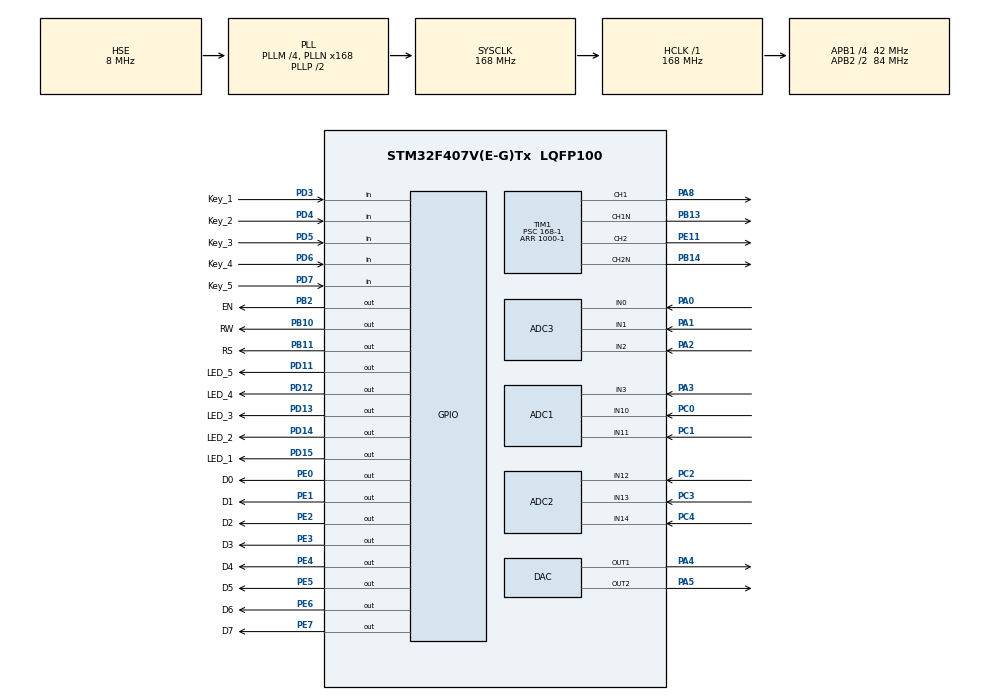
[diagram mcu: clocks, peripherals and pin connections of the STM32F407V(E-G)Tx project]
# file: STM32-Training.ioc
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ADC1.Channel-3\#ChannelRegularConversion=ADC_CHANNEL_3
ADC1.Channel-4\#ChannelRegularConversion=ADC_CHANNEL_10
ADC1.Channel-5\#ChannelRegularConversion=ADC_CHANNEL_11
ADC1.ClockPrescaler=ADC_CLOCK_SYNC_PCLK_DIV8
ADC1.ContinuousConvMode=ENABLE
ADC1.DMAContinuousRequests=ENABLE
ADC1.NbrOfConversion=3
ADC1.NbrOfConversionFlag=1
ADC1.Rank-3\#ChannelRegularConversion=1
ADC1.Rank-4\#ChannelRegularConversion=2
ADC1.Rank-5\#ChannelRegularConversion=3
ADC1.SamplingTime-3\#ChannelRegularConversion=ADC_SAMPLETIME_28CYCLES
ADC1.SamplingTime-4\#ChannelRegularConversion=ADC_SAMPLETIME_28CYCLES
ADC1.SamplingTime-5\#ChannelRegularConversion=ADC_SAMPLETIME_28CYCLES
ADC1.ScanConvMode=ENABLE
ADC1.master=1
ADC2.Channel-0\#ChannelRegularConversion=ADC_CHANNEL_12
ADC2.Channel-1\#ChannelRegularConversion=ADC_CHANNEL_13
ADC2.Channel-2\#ChannelRegularConversion=ADC_CHANNEL_14
ADC2.ClockPrescaler=ADC_CLOCK_SYNC_PCLK_DIV8
ADC2.ContinuousConvMode=ENABLE
ADC2.DMAContinuousRequests=ENABLE
ADC2.NbrOfConversion=3
ADC2.NbrOfConversionFlag=1
ADC2.Rank-0\#ChannelRegularConversion=1
ADC2.Rank-1\#ChannelRegularConversion=2
ADC2.Rank-2\#ChannelRegularConversion=3
ADC2.SamplingTime-0\#ChannelRegularConversion=ADC_SAMPLETIME_56CYCLES
ADC2.SamplingTime-1\#ChannelRegularConversion=ADC_SAMPLETIME_56CYCLES
ADC2.SamplingTime-2\#ChannelRegularConversion=ADC_SAMPLETIME_56CYCLES
ADC2.ScanConvMode=ENABLE
ADC3.Channel-0\#ChannelRegularConversion=ADC_CHANNEL_0
ADC3.Channel-1\#ChannelRegularConversion=ADC_CHANNEL_1
ADC3.Channel-2\#ChannelRegularConversion=ADC_CHANNEL_2
ADC3.ClockPrescaler=ADC_CLOCK_SYNC_PCLK_DIV8
ADC3.ContinuousConvMode=ENABLE
ADC3.DMAContinuousRequests=ENABLE
ADC3.NbrOfConversion=3
ADC3.NbrOfConversionFlag=1
ADC3.Rank-0\#ChannelRegularConversion=1
ADC3.Rank-1\#ChannelRegularConversion=2
ADC3.Rank-2\#ChannelRegularConversion=3
ADC3.SamplingTime-0\#ChannelRegularConversion=ADC_SAMPLETIME_56CYCLES
ADC3.SamplingTime-1\#ChannelRegularConversion=ADC_SAMPLETIME_56CYCLES
ADC3.SamplingTime-2\#ChannelRegularConversion=ADC_SAMPLETIME_56CYCLES
ADC3.ScanConvMode=ENABLE
Dma.ADC1.0.Direction=DMA_PERIPH_TO_MEMORY
Dma.ADC1.0.FIFOMode=DMA_FIFOMODE_DISABLE
Dma.ADC1.0.Instance=DMA2_Stream0
Dma.ADC1.0.MemDataAlignment=DMA_MDATAALIGN_WORD
Dma.ADC1.0.MemInc=DMA_MINC_ENABLE
Dma.ADC1.0.Mode=DMA_CIRCULAR
Dma.ADC1.0.PeriphDataAlignment=DMA_PDATAALIGN_WORD
Dma.ADC1.0.PeriphInc=DMA_PINC_DISABLE
Dma.ADC1.0.Priority=DMA_PRIORITY_LOW
Dma.ADC2.1.Direction=DMA_PERIPH_TO_MEMORY
Dma.ADC2.1.FIFOMode=DMA_FIFOMODE_DISABLE
Dma.ADC2.1.Instance=DMA2_Stream2
Dma.ADC2.1.MemDataAlignment=DMA_MDATAALIGN_WORD
Dma.ADC2.1.MemInc=DMA_MINC_ENABLE
Dma.ADC2.1.Mode=DMA_CIRCULAR
Dma.ADC2.1.PeriphDataAlignment=DMA_PDATAALIGN_WORD
Dma.ADC2.1.PeriphInc=DMA_PINC_DISABLE
Dma.ADC2.1.Priority=DMA_PRIORITY_LOW
Dma.ADC3.2.Direction=DMA_PERIPH_TO_MEMORY
Dma.ADC3.2.FIFOMode=DMA_FIFOMODE_DISABLE
Dma.ADC3.2.Instance=DMA2_Stream1
Dma.ADC3.2.MemDataAlignment=DMA_MDATAALIGN_WORD
Dma.ADC3.2.MemInc=DMA_MINC_ENABLE
Dma.ADC3.2.Mode=DMA_CIRCULAR
Dma.ADC3.2.PeriphDataAlignment=DMA_PDATAALIGN_WORD
Dma.ADC3.2.PeriphInc=DMA_PINC_DISABLE
Dma.ADC3.2.Priority=DMA_PRIORITY_LOW
Dma.Request0=ADC1
Dma.Request1=ADC2
Dma.Request2=ADC3
Mcu.Family=STM32F4
Mcu.Name=STM32F407V(E-G)Tx
Mcu.Package=LQFP100
NVIC.DMA2_Stream0_IRQn=true\:0\:0\:false\:false\:true\:false\:true
NVIC.DMA2_Stream1_IRQn=true\:0\:0\:false\:false\:true\:false\:true
NVIC.DMA2_Stream2_IRQn=true\:0\:0\:false\:false\:true\:false\:true
NVIC.PriorityGroup=NVIC_PRIORITYGROUP_4
NVIC.TIM1_UP_TIM10_IRQn=true\:0\:0\:false\:false\:true\:true\:true
NVIC.TIM2_IRQn=true\:0\:0\:false\:false\:true\:true\:true
NVIC.TIM6_DAC_IRQn=true\:0\:0\:false\:false\:true\:true\:true
PA0-WKUP.Signal=ADCx_IN0
PA1.Signal=ADCx_IN1
PA2.Signal=ADCx_IN2
PA3.Signal=ADCx_IN3
PA4.Signal=COMP_DAC1_group
PA5.Signal=COMP_DAC2_group
PA8.Signal=S_TIM1_CH1
PB10.GPIO_Label=RW
PB10.Signal=GPIO_Output
PB11.GPIO_Label=RS
PB11.Signal=GPIO_Output
PB13.Mode=Output Compare1 CH1 CH1N
PB13.Signal=TIM1_CH1N
PB14.Mode=Output Compare2 CH2 CH2N
PB14.Signal=TIM1_CH2N
PB2.GPIO_Label=EN
PB2.Signal=GPIO_Output
PC0.Signal=ADCx_IN10
PC1.Signal=ADCx_IN11
PC2.Signal=ADCx_IN12
PC3.Signal=ADCx_IN13
PC4.Signal=ADCx_IN14
PD11.GPIO_Label=LED_5
PD11.Signal=GPIO_Output
PD12.GPIO_Label=LED_4
PD12.Signal=GPIO_Output
PD13.GPIO_Label=LED_3
PD13.Signal=GPIO_Output
PD14.GPIO_Label=LED_2
PD14.Signal=GPIO_Output
PD15.GPIO_Label=LED_1
PD15.Signal=GPIO_Output
PD3.GPIO_Label=Key_1
PD3.Signal=GPIO_Input
PD4.GPIO_Label=Key_2
PD4.Signal=GPIO_Input
PD5.GPIO_Label=Key_3
PD5.Signal=GPIO_Input
PD6.GPIO_Label=Key_4
PD6.Signal=GPIO_Input
PD7.GPIO_Label=Key_5
PD7.Signal=GPIO_Input
PE0.GPIO_Label=D0
PE0.Signal=GPIO_Output
PE1.GPIO_Label=D1
PE1.Signal=GPIO_Output
PE11.Signal=S_TIM1_CH2
PE2.GPIO_Label=D2
PE2.Signal=GPIO_Output
PE3.GPIO_Label=D3
PE3.Signal=GPIO_Output
PE4.GPIO_Label=D4
PE4.Signal=GPIO_Output
PE5.GPIO_Label=D5
PE5.Signal=GPIO_Output
PE6.GPIO_Label=D6
PE6.Signal=GPIO_Output
PE7.GPIO_Label=D7
PE7.Signal=GPIO_Output
PH0-OSC_IN.Mode=HSE-External-Oscillator
PH0-OSC_IN.Signal=RCC_OSC_IN
PH1-OSC_OUT.Mode=HSE-External-Oscillator
PH1-OSC_OUT.Signal=RCC_OSC_OUT
ProjectManager.HeapSize=0x200
ProjectManager.StackSize=0x400
ProjectManager.TargetToolchain=MDK-ARM V5.27
RCC.48MHZClocksFreq_Value=84000000
RCC.AHBFreq_Value=168000000
RCC.APB1CLKDivider=RCC_HCLK_DIV4
RCC.APB1Freq_Value=42000000
RCC.APB1TimFreq_Value=84000000
RCC.APB2CLKDivider=RCC_HCLK_DIV2
RCC.APB2Freq_Value=84000000
RCC.APB2TimFreq_Value=168000000
RCC.CortexFreq_Value=168000000
RCC.HCLKFreq_Value=168000000
RCC.HSE_VALUE=8000000
RCC.HSI_VALUE=16000000
RCC.LSE_VALUE=32768
RCC.PLLM=4
RCC.PLLN=168
RCC.PLLSourceVirtual=RCC_PLLSOURCE_HSE
RCC.SYSCLKFreq_VALUE=168000000
RCC.SYSCLKSource=RCC_SYSCLKSOURCE_PLLCLK
RCC.VCOOutputFreq_Value=336000000
SH.ADCx_IN0.0=ADC3_IN0,IN0
SH.ADCx_IN1.0=ADC3_IN1,IN1
SH.ADCx_IN10.0=ADC1_IN10,IN10
SH.ADCx_IN11.0=ADC1_IN11,IN11
SH.ADCx_IN12.0=ADC2_IN12,IN12
SH.ADCx_IN13.0=ADC2_IN13,IN13
SH.ADCx_IN14.0=ADC2_IN14,IN14
SH.ADCx_IN2.0=ADC3_IN2,IN2
SH.ADCx_IN3.0=ADC1_IN3,IN3
SH.COMP_DAC1_group.0=DAC_OUT1,DAC_OUT1
SH.COMP_DAC2_group.0=DAC_OUT2,DAC_OUT2
SH.S_TIM1_CH1.0=TIM1_CH1,Output Compare1 CH1 CH1N
SH.S_TIM1_CH2.0=TIM1_CH2,Output Compare2 CH2 CH2N
TIM1.AutoReloadPreload=TIM_AUTORELOAD_PRELOAD_ENABLE
TIM1.Channel-Output\ Compare1\ CH1\ CH1N=TIM_CHANNEL_1
TIM1.Channel-Output\ Compare2\ CH2\ CH2N=TIM_CHANNEL_2
TIM1.DeadTime=120
TIM1.OCMode_1=TIM_OCMODE_TOGGLE
TIM1.OCMode_2=TIM_OCMODE_TOGGLE
TIM1.OCNPolarity_1=TIM_OCNPOLARITY_HIGH
TIM1.Period=1000-1
TIM1.Prescaler=168-1
TIM1.Pulse-Output\ Compare1\ CH1\ CH1N=100
TIM1.Pulse-Output\ Compare2\ CH2\ CH2N=500
TIM1.TIM_MasterOutputTrigger=TIM_TRGO_UPDATE
TIM2.AutoReloadPreload=TIM_AUTORELOAD_PRELOAD_ENABLE
TIM2.Period=1000-1
TIM2.Prescaler=84-1
TIM2.TIM_MasterOutputTrigger=TIM_TRGO_UPDATE
VP_TIM1_VS_ClockSourceINT.Mode=Internal
VP_TIM2_VS_ClockSourceINT.Mode=Internal
board=custom

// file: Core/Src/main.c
/* USER CODE BEGIN Header */
/**
  ******************************************************************************
  * @file           : main.c
  * @brief          : Main program body
  ******************************************************************************
  * @attention
  *
  * <h2><center>&copy; Copyright (c) 2020 STMicroelectronics.
  * All rights reserved.</center></h2>
  *
  * This software component is licensed by ST under BSD 3-Clause license,
  * the "License"; You may not use this file except in compliance with the
  * License. You may obtain a copy of the License at:
  *                        opensource.org/licenses/BSD-3-Clause
  *
  ******************************************************************************
  */
/* USER CODE END Header */
#include "main.h"

/* USER CODE BEGIN Includes */
#include "STM_MY_LCD16X2.h"
/* USER CODE END Includes */

ADC_HandleTypeDef hadc1;
ADC_HandleTypeDef hadc2;
ADC_HandleTypeDef hadc3;
DMA_HandleTypeDef hdma_adc1;
DMA_HandleTypeDef hdma_adc2;
DMA_HandleTypeDef hdma_adc3;

DAC_HandleTypeDef hdac;

TIM_HandleTypeDef htim1;
TIM_HandleTypeDef htim2;

/* USER CODE BEGIN PV */

//Key-interface.

uint16_t key_flag_1, key_flag_2, key_flag_3, key_flag_4, key_flag_5;
uint16_t keyscan_flag;

//16x2 LCD-interface.

uint16_t Display_flag;
char str_line1[16], str_line2[16];
float Temp_Disp_1 = 12.56;

//Timer-1
uint16_t timer_1_CCR1 = 150;

//ADC-Interface

//uint16_t ADCValue;
uint32_t ADCValue1[3], ADCValue2[3], ADCValue3[3];

/* USER CODE END PV */

void SystemClock_Config(void);
static void MX_GPIO_Init(void);
static void MX_DMA_Init(void);
static void MX_TIM2_Init(void);
static void MX_TIM1_Init(void);
static void MX_ADC1_Init(void);
static void MX_ADC2_Init(void);
static void MX_ADC3_Init(void);
static void MX_DAC_Init(void);
/* USER CODE BEGIN PFP */
void Keyscan(void);

/* USER CODE END PFP */

int main(void)
{

  /* MCU Configuration--------------------------------------------------------*/

  /* Reset of all peripherals, Initializes the Flash interface and the Systick. */
  HAL_Init();

  /* Configure the system clock */
  SystemClock_Config();

  /* Initialize all configured peripherals */
  MX_GPIO_Init();
  MX_DMA_Init();
  MX_TIM2_Init();
  MX_TIM1_Init();
  MX_ADC1_Init();
  MX_ADC2_Init();
  MX_ADC3_Init();
  MX_DAC_Init();
  /* USER CODE BEGIN 2 */
	LCD1602_Begin8BIT(GPIOB, RS_Pin, EN_Pin, GPIOE, D0_Pin, D1_Pin, D2_Pin, D3_Pin, GPIOE, D4_Pin, D5_Pin, D6_Pin, D7_Pin);
	LCD1602_1stLine();
	LCD1602_print("NITECH Training");
	LCD1602_noBlink();
	LCD1602_noCursor();

	HAL_TIM_Base_Start(&htim2);
	HAL_TIM_Base_Start_IT(&htim2);

	HAL_TIM_Base_Start(&htim1);

	HAL_TIM_OC_Start(&htim1,TIM_CHANNEL_1);
	HAL_TIMEx_OCN_Start(&htim1,TIM_CHANNEL_1);

	HAL_TIM_OC_Start(&htim1,TIM_CHANNEL_2);
	HAL_TIMEx_OCN_Start(&htim1,TIM_CHANNEL_2);

	HAL_ADC_Start(&hadc1);
	HAL_ADC_Start_DMA(&hadc1, (uint32_t *)ADCValue1, 3);

	HAL_ADC_Start(&hadc2);
	HAL_ADC_Start_DMA(&hadc2, (uint32_t *)ADCValue2, 3);

	HAL_ADC_Start(&hadc3);
	HAL_ADC_Start_DMA(&hadc3, (uint32_t *)ADCValue3, 3);

	HAL_DAC_Start(&hdac, DAC_CHANNEL_1);
	HAL_DAC_Start(&hdac, DAC_CHANNEL_2);

  /* USER CODE END 2 */

  /* Infinite loop */
  /* USER CODE BEGIN WHILE */
  while (1)
  {
		DAC->DHR12R1 = 2048;
		DAC->DHR12R2 = (TIM1->CNT)*4.0;
//		ADCValue = HAL_ADC_GetValue(&hadc1);
//		Keyscan();
//
//		if(Display_flag == 100){
//			Display_flag = 0;
//			LCD1602_clear();
//			sprintf((char *)str_line1,"[%5.0d], [%5.0d]",timer_1_CCR1,Display_flag);
//			LCD1602_1stLine();
//			LCD1602_print(str_line1);
//			sprintf((char *)str_line2,"TRAINNING");
//			LCD1602_2ndLine();
//			LCD1602_print(str_line2);
//		}
    /* USER CODE END WHILE */

  }
}

void SystemClock_Config(void)
{
  RCC_OscInitTypeDef RCC_OscInitStruct = {0};
  RCC_ClkInitTypeDef RCC_ClkInitStruct = {0};

  /** Configure the main internal regulator output voltage
  */
  __HAL_RCC_PWR_CLK_ENABLE();
  __HAL_PWR_VOLTAGESCALING_CONFIG(PWR_REGULATOR_VOLTAGE_SCALE1);
  /** Initializes the RCC Oscillators according to the specified parameters
  * in the RCC_OscInitTypeDef structure.
  */
  RCC_OscInitStruct.OscillatorType = RCC_OSCILLATORTYPE_HSE;
  RCC_OscInitStruct.HSEState = RCC_HSE_ON;
  RCC_OscInitStruct.PLL.PLLState = RCC_PLL_ON;
  RCC_OscInitStruct.PLL.PLLSource = RCC_PLLSOURCE_HSE;
  RCC_OscInitStruct.PLL.PLLM = 4;
  RCC_OscInitStruct.PLL.PLLN = 168;
  RCC_OscInitStruct.PLL.PLLP = RCC_PLLP_DIV2;
  RCC_OscInitStruct.PLL.PLLQ = 4;
  if (HAL_RCC_OscConfig(&RCC_OscInitStruct) != HAL_OK)
  {
    Error_Handler();
  }
  /** Initializes the CPU, AHB and APB buses clocks
  */
  RCC_ClkInitStruct.ClockType = RCC_CLOCKTYPE_HCLK|RCC_CLOCKTYPE_SYSCLK
                              |RCC_CLOCKTYPE_PCLK1|RCC_CLOCKTYPE_PCLK2;
  RCC_ClkInitStruct.SYSCLKSource = RCC_SYSCLKSOURCE_PLLCLK;
  RCC_ClkInitStruct.AHBCLKDivider = RCC_SYSCLK_DIV1;
  RCC_ClkInitStruct.APB1CLKDivider = RCC_HCLK_DIV4;
  RCC_ClkInitStruct.APB2CLKDivider = RCC_HCLK_DIV2;

  if (HAL_RCC_ClockConfig(&RCC_ClkInitStruct, FLASH_LATENCY_5) != HAL_OK)
  {
    Error_Handler();
  }
}

static void MX_ADC1_Init(void)
{

  ADC_ChannelConfTypeDef sConfig = {0};

  /** Configure the global features of the ADC (Clock, Resolution, Data Alignment and number of conversion)
  */
  hadc1.Instance = ADC1;
  hadc1.Init.ClockPrescaler = ADC_CLOCK_SYNC_PCLK_DIV8;
  hadc1.Init.Resolution = ADC_RESOLUTION_12B;
  hadc1.Init.ScanConvMode = ENABLE;
  hadc1.Init.ContinuousConvMode = ENABLE;
  hadc1.Init.DiscontinuousConvMode = DISABLE;
  hadc1.Init.ExternalTrigConvEdge = ADC_EXTERNALTRIGCONVEDGE_NONE;
  hadc1.Init.ExternalTrigConv = ADC_SOFTWARE_START;
  hadc1.Init.DataAlign = ADC_DATAALIGN_RIGHT;
  hadc1.Init.NbrOfConversion = 3;
  hadc1.Init.DMAContinuousRequests = ENABLE;
  hadc1.Init.EOCSelection = ADC_EOC_SINGLE_CONV;
  if (HAL_ADC_Init(&hadc1) != HAL_OK)
  {
    Error_Handler();
  }
  /** Configure for the selected ADC regular channel its corresponding rank in the sequencer and its sample time.
  */
  sConfig.Channel = ADC_CHANNEL_3;
  sConfig.Rank = 1;
  sConfig.SamplingTime = ADC_SAMPLETIME_28CYCLES;
  if (HAL_ADC_ConfigChannel(&hadc1, &sConfig) != HAL_OK)
  {
    Error_Handler();
  }
  /** Configure for the selected ADC regular channel its corresponding rank in the sequencer and its sample time.
  */
  sConfig.Channel = ADC_CHANNEL_10;
  sConfig.Rank = 2;
  if (HAL_ADC_ConfigChannel(&hadc1, &sConfig) != HAL_OK)
  {
    Error_Handler();
  }
  /** Configure for the selected ADC regular channel its corresponding rank in the sequencer and its sample time.
  */
  sConfig.Channel = ADC_CHANNEL_11;
  sConfig.Rank = 3;
  if (HAL_ADC_ConfigChannel(&hadc1, &sConfig) != HAL_OK)
  {
    Error_Handler();
  }

}

static void MX_ADC2_Init(void)
{

  ADC_ChannelConfTypeDef sConfig = {0};

  /** Configure the global features of the ADC (Clock, Resolution, Data Alignment and number of conversion)
  */
  hadc2.Instance = ADC2;
  hadc2.Init.ClockPrescaler = ADC_CLOCK_SYNC_PCLK_DIV8;
  hadc2.Init.Resolution = ADC_RESOLUTION_12B;
  hadc2.Init.ScanConvMode = ENABLE;
  hadc2.Init.ContinuousConvMode = ENABLE;
  hadc2.Init.DiscontinuousConvMode = DISABLE;
  hadc2.Init.ExternalTrigConvEdge = ADC_EXTERNALTRIGCONVEDGE_NONE;
  hadc2.Init.ExternalTrigConv = ADC_SOFTWARE_START;
  hadc2.Init.DataAlign = ADC_DATAALIGN_RIGHT;
  hadc2.Init.NbrOfConversion = 3;
  hadc2.Init.DMAContinuousRequests = ENABLE;
  hadc2.Init.EOCSelection = ADC_EOC_SINGLE_CONV;
  if (HAL_ADC_Init(&hadc2) != HAL_OK)
  {
    Error_Handler();
  }
  /** Configure for the selected ADC regular channel its corresponding rank in the sequencer and its sample time.
  */
  sConfig.Channel = ADC_CHANNEL_12;
  sConfig.Rank = 1;
  sConfig.SamplingTime = ADC_SAMPLETIME_56CYCLES;
  if (HAL_ADC_ConfigChannel(&hadc2, &sConfig) != HAL_OK)
  {
    Error_Handler();
  }
  /** Configure for the selected ADC regular channel its corresponding rank in the sequencer and its sample time.
  */
  sConfig.Channel = ADC_CHANNEL_13;
  sConfig.Rank = 2;
  if (HAL_ADC_ConfigChannel(&hadc2, &sConfig) != HAL_OK)
  {
    Error_Handler();
  }
  /** Configure for the selected ADC regular channel its corresponding rank in the sequencer and its sample time.
  */
  sConfig.Channel = ADC_CHANNEL_14;
  sConfig.Rank = 3;
  if (HAL_ADC_ConfigChannel(&hadc2, &sConfig) != HAL_OK)
  {
    Error_Handler();
  }

}

static void MX_ADC3_Init(void)
{

  ADC_ChannelConfTypeDef sConfig = {0};

  /** Configure the global features of the ADC (Clock, Resolution, Data Alignment and number of conversion)
  */
  hadc3.Instance = ADC3;
  hadc3.Init.ClockPrescaler = ADC_CLOCK_SYNC_PCLK_DIV8;
  hadc3.Init.Resolution = ADC_RESOLUTION_12B;
  hadc3.Init.ScanConvMode = ENABLE;
  hadc3.Init.ContinuousConvMode = ENABLE;
  hadc3.Init.DiscontinuousConvMode = DISABLE;
  hadc3.Init.ExternalTrigConvEdge = ADC_EXTERNALTRIGCONVEDGE_NONE;
  hadc3.Init.ExternalTrigConv = ADC_SOFTWARE_START;
  hadc3.Init.DataAlign = ADC_DATAALIGN_RIGHT;
  hadc3.Init.NbrOfConversion = 3;
  hadc3.Init.DMAContinuousRequests = ENABLE;
  hadc3.Init.EOCSelection = ADC_EOC_SINGLE_CONV;
  if (HAL_ADC_Init(&hadc3) != HAL_OK)
  {
    Error_Handler();
  }
  /** Configure for the selected ADC regular channel its corresponding rank in the sequencer and its sample time.
  */
  sConfig.Channel = ADC_CHANNEL_0;
  sConfig.Rank = 1;
  sConfig.SamplingTime = ADC_SAMPLETIME_56CYCLES;
  if (HAL_ADC_ConfigChannel(&hadc3, &sConfig) != HAL_OK)
  {
    Error_Handler();
  }
  /** Configure for the selected ADC regular channel its corresponding rank in the sequencer and its sample time.
  */
  sConfig.Channel = ADC_CHANNEL_1;
  sConfig.Rank = 2;
  if (HAL_ADC_ConfigChannel(&hadc3, &sConfig) != HAL_OK)
  {
    Error_Handler();
  }
  /** Configure for the selected ADC regular channel its corresponding rank in the sequencer and its sample time.
  */
  sConfig.Channel = ADC_CHANNEL_2;
  sConfig.Rank = 3;
  if (HAL_ADC_ConfigChannel(&hadc3, &sConfig) != HAL_OK)
  {
    Error_Handler();
  }

}

static void MX_DAC_Init(void)
{

  DAC_ChannelConfTypeDef sConfig = {0};

  /** DAC Initialization
  */
  hdac.Instance = DAC;
  if (HAL_DAC_Init(&hdac) != HAL_OK)
  {
    Error_Handler();
  }
  /** DAC channel OUT1 config
  */
  sConfig.DAC_Trigger = DAC_TRIGGER_NONE;
  sConfig.DAC_OutputBuffer = DAC_OUTPUTBUFFER_ENABLE;
  if (HAL_DAC_ConfigChannel(&hdac, &sConfig, DAC_CHANNEL_1) != HAL_OK)
  {
    Error_Handler();
  }
  /** DAC channel OUT2 config
  */
  if (HAL_DAC_ConfigChannel(&hdac, &sConfig, DAC_CHANNEL_2) != HAL_OK)
  {
    Error_Handler();
  }

}

static void MX_TIM1_Init(void)
{

  TIM_ClockConfigTypeDef sClockSourceConfig = {0};
  TIM_MasterConfigTypeDef sMasterConfig = {0};
  TIM_OC_InitTypeDef sConfigOC = {0};
  TIM_BreakDeadTimeConfigTypeDef sBreakDeadTimeConfig = {0};

  htim1.Instance = TIM1;
  htim1.Init.Prescaler = 168-1;
  htim1.Init.CounterMode = TIM_COUNTERMODE_UP;
  htim1.Init.Period = 1000-1;
  htim1.Init.ClockDivision = TIM_CLOCKDIVISION_DIV1;
  htim1.Init.RepetitionCounter = 0;
  htim1.Init.AutoReloadPreload = TIM_AUTORELOAD_PRELOAD_ENABLE;
  if (HAL_TIM_Base_Init(&htim1) != HAL_OK)
  {
    Error_Handler();
  }
  sClockSourceConfig.ClockSource = TIM_CLOCKSOURCE_INTERNAL;
  if (HAL_TIM_ConfigClockSource(&htim1, &sClockSourceConfig) != HAL_OK)
  {
    Error_Handler();
  }
  if (HAL_TIM_OC_Init(&htim1) != HAL_OK)
  {
    Error_Handler();
  }
  sMasterConfig.MasterOutputTrigger = TIM_TRGO_UPDATE;
  sMasterConfig.MasterSlaveMode = TIM_MASTERSLAVEMODE_DISABLE;
  if (HAL_TIMEx_MasterConfigSynchronization(&htim1, &sMasterConfig) != HAL_OK)
  {
    Error_Handler();
  }
  sConfigOC.OCMode = TIM_OCMODE_TOGGLE;
  sConfigOC.Pulse = 100;
  sConfigOC.OCPolarity = TIM_OCPOLARITY_HIGH;
  sConfigOC.OCNPolarity = TIM_OCNPOLARITY_HIGH;
  sConfigOC.OCFastMode = TIM_OCFAST_DISABLE;
  sConfigOC.OCIdleState = TIM_OCIDLESTATE_RESET;
  sConfigOC.OCNIdleState = TIM_OCNIDLESTATE_RESET;
  if (HAL_TIM_OC_ConfigChannel(&htim1, &sConfigOC, TIM_CHANNEL_1) != HAL_OK)
  {
    Error_Handler();
  }
  sConfigOC.Pulse = 500;
  if (HAL_TIM_OC_ConfigChannel(&htim1, &sConfigOC, TIM_CHANNEL_2) != HAL_OK)
  {
    Error_Handler();
  }
  sBreakDeadTimeConfig.OffStateRunMode = TIM_OSSR_DISABLE;
  sBreakDeadTimeConfig.OffStateIDLEMode = TIM_OSSI_DISABLE;
  sBreakDeadTimeConfig.LockLevel = TIM_LOCKLEVEL_OFF;
  sBreakDeadTimeConfig.DeadTime = 120;
  sBreakDeadTimeConfig.BreakState = TIM_BREAK_DISABLE;
  sBreakDeadTimeConfig.BreakPolarity = TIM_BREAKPOLARITY_HIGH;
  sBreakDeadTimeConfig.AutomaticOutput = TIM_AUTOMATICOUTPUT_DISABLE;
  if (HAL_TIMEx_ConfigBreakDeadTime(&htim1, &sBreakDeadTimeConfig) != HAL_OK)
  {
    Error_Handler();
  }
  HAL_TIM_MspPostInit(&htim1);

}

static void MX_TIM2_Init(void)
{

  TIM_ClockConfigTypeDef sClockSourceConfig = {0};
  TIM_MasterConfigTypeDef sMasterConfig = {0};

  htim2.Instance = TIM2;
  htim2.Init.Prescaler = 84-1;
  htim2.Init.CounterMode = TIM_COUNTERMODE_UP;
  htim2.Init.Period = 1000-1;
  htim2.Init.ClockDivision = TIM_CLOCKDIVISION_DIV1;
  htim2.Init.AutoReloadPreload = TIM_AUTORELOAD_PRELOAD_ENABLE;
  if (HAL_TIM_Base_Init(&htim2) != HAL_OK)
  {
    Error_Handler();
  }
  sClockSourceConfig.ClockSource = TIM_CLOCKSOURCE_INTERNAL;
  if (HAL_TIM_ConfigClockSource(&htim2, &sClockSourceConfig) != HAL_OK)
  {
    Error_Handler();
  }
  sMasterConfig.MasterOutputTrigger = TIM_TRGO_UPDATE;
  sMasterConfig.MasterSlaveMode = TIM_MASTERSLAVEMODE_DISABLE;
  if (HAL_TIMEx_MasterConfigSynchronization(&htim2, &sMasterConfig) != HAL_OK)
  {
    Error_Handler();
  }

}

static void MX_DMA_Init(void)
{

  /* DMA controller clock enable */
  __HAL_RCC_DMA2_CLK_ENABLE();

  /* DMA interrupt init */
  /* DMA2_Stream0_IRQn interrupt configuration */
  HAL_NVIC_SetPriority(DMA2_Stream0_IRQn, 0, 0);
  HAL_NVIC_EnableIRQ(DMA2_Stream0_IRQn);
  /* DMA2_Stream1_IRQn interrupt configuration */
  HAL_NVIC_SetPriority(DMA2_Stream1_IRQn, 0, 0);
  HAL_NVIC_EnableIRQ(DMA2_Stream1_IRQn);
  /* DMA2_Stream2_IRQn interrupt configuration */
  HAL_NVIC_SetPriority(DMA2_Stream2_IRQn, 0, 0);
  HAL_NVIC_EnableIRQ(DMA2_Stream2_IRQn);

}

static void MX_GPIO_Init(void)
{
  GPIO_InitTypeDef GPIO_InitStruct = {0};

  /* GPIO Ports Clock Enable */
  __HAL_RCC_GPIOE_CLK_ENABLE();
  __HAL_RCC_GPIOH_CLK_ENABLE();
  __HAL_RCC_GPIOC_CLK_ENABLE();
  __HAL_RCC_GPIOA_CLK_ENABLE();
  __HAL_RCC_GPIOB_CLK_ENABLE();
  __HAL_RCC_GPIOD_CLK_ENABLE();

  /*Configure GPIO pin Output Level */
  HAL_GPIO_WritePin(GPIOE, D2_Pin|D3_Pin|D4_Pin|D5_Pin
                          |D6_Pin|D7_Pin|D0_Pin|D1_Pin, GPIO_PIN_RESET);

  /*Configure GPIO pin Output Level */
  HAL_GPIO_WritePin(GPIOB, EN_Pin|RW_Pin|RS_Pin, GPIO_PIN_RESET);

  /*Configure GPIO pin Output Level */
  HAL_GPIO_WritePin(GPIOD, LED_5_Pin|LED_4_Pin|LED_3_Pin|LED_2_Pin
                          |LED_1_Pin, GPIO_PIN_RESET);

  /*Configure GPIO pins : D2_Pin D3_Pin D4_Pin D5_Pin
                           D6_Pin D7_Pin D0_Pin D1_Pin */
  GPIO_InitStruct.Pin = D2_Pin|D3_Pin|D4_Pin|D5_Pin
                          |D6_Pin|D7_Pin|D0_Pin|D1_Pin;
  GPIO_InitStruct.Mode = GPIO_MODE_OUTPUT_PP;
  GPIO_InitStruct.Pull = GPIO_NOPULL;
  GPIO_InitStruct.Speed = GPIO_SPEED_FREQ_LOW;
  HAL_GPIO_Init(GPIOE, &GPIO_InitStruct);

  /*Configure GPIO pins : EN_Pin RW_Pin RS_Pin */
  GPIO_InitStruct.Pin = EN_Pin|RW_Pin|RS_Pin;
  GPIO_InitStruct.Mode = GPIO_MODE_OUTPUT_PP;
  GPIO_InitStruct.Pull = GPIO_NOPULL;
  GPIO_InitStruct.Speed = GPIO_SPEED_FREQ_LOW;
  HAL_GPIO_Init(GPIOB, &GPIO_InitStruct);

  /*Configure GPIO pins : LED_5_Pin LED_4_Pin LED_3_Pin LED_2_Pin
                           LED_1_Pin */
  GPIO_InitStruct.Pin = LED_5_Pin|LED_4_Pin|LED_3_Pin|LED_2_Pin
                          |LED_1_Pin;
  GPIO_InitStruct.Mode = GPIO_MODE_OUTPUT_PP;
  GPIO_InitStruct.Pull = GPIO_NOPULL;
  GPIO_InitStruct.Speed = GPIO_SPEED_FREQ_LOW;
  HAL_GPIO_Init(GPIOD, &GPIO_InitStruct);

  /*Configure GPIO pins : Key_1_Pin Key_2_Pin Key_3_Pin Key_4_Pin
                           Key_5_Pin */
  GPIO_InitStruct.Pin = Key_1_Pin|Key_2_Pin|Key_3_Pin|Key_4_Pin
                          |Key_5_Pin;
  GPIO_InitStruct.Mode = GPIO_MODE_INPUT;
  GPIO_InitStruct.Pull = GPIO_NOPULL;
  HAL_GPIO_Init(GPIOD, &GPIO_InitStruct);

}

/* USER CODE BEGIN 4 */

void Keyscan()
{
	// pressing key with software debounsing technique
	long unsigned int i,k = 20000;
	// key-1 Debounce logic.
	if((GPIOD->IDR & GPIO_PIN_3) == 0x0000){  // key is found to be press
		for(i = 0; i < k; i++); // KEY PRESS DEBOUNSING DELAY give some biger value
		if(  (GPIOD->IDR & GPIO_PIN_3) == 0x0000){  // again checking the status of pin
				key_flag_1 = 1;
		}
	}else{
		if(key_flag_1 == 1){
			key_flag_1 = 0;
			// action to take
//			HAL_GPIO_TogglePin(GPIOD,LED_1_Pin);
			timer_1_CCR1 = timer_1_CCR1 + 100;
		}
	}

	// key-2 Debounce logic.
	if((GPIOD->IDR & GPIO_PIN_4) == 0x0000){  // key is found to be press
		for(i = 0; i < k; i++); // KEY PRESS DEBOUNSING DELAY give some biger value
		if(  (GPIOD->IDR & GPIO_PIN_4) == 0x0000){  // again checking the status of pin
				key_flag_2 = 1;
		}
	}else{
		if(key_flag_2 == 1){
			key_flag_2 = 0;
			// action to take
			HAL_GPIO_TogglePin(GPIOD,LED_2_Pin);
			timer_1_CCR1 = timer_1_CCR1 - 100;
		}
	}

	// key-3 Debounce logic.
	if((GPIOD->IDR & GPIO_PIN_5) == 0x0000){  // key is found to be press
		for(i = 0; i < k; i++); // KEY PRESS DEBOUNSING DELAY give some biger value
		if(  (GPIOD->IDR & GPIO_PIN_5) == 0x0000){  // again checking the status of pin
				key_flag_3 = 1;
		}
	}else{
		if(key_flag_3 ==1){
			key_flag_3 = 0;
			// action to take
			HAL_GPIO_TogglePin(GPIOD,LED_3_Pin);

		}
	}

	// key-4 Debounce logic.
	if((GPIOD->IDR & GPIO_PIN_6) == 0x0000){  // key is found to be press
		for(i = 0; i < k; i++); // KEY PRESS DEBOUNSING DELAY give some biger value
		if(  (GPIOD->IDR & GPIO_PIN_6) == 0x0000){  // again checking the status of pin
				key_flag_4 = 1;
		}
	}else{
		if(key_flag_4 ==1){
			key_flag_4 = 0;
			// action to take
			HAL_GPIO_TogglePin(GPIOD,LED_4_Pin);
			timer_1_CCR1 = timer_1_CCR1 + 100;
		}
	}

	// key-5 Debounce logic.
	if((GPIOD->IDR&GPIO_PIN_7) == 0x0000){  // key is found to be press
		for(i = 0; i < k; i++); // KEY PRESS DEBOUNSING DELAY give some biger value
		if(  (GPIOD->IDR & GPIO_PIN_7) == 0x0000){  // again checking the status of pin
				key_flag_5 = 1;
		}
	}else{
		if(key_flag_5 == 1){
			key_flag_5 = 0;
			// action to take
			HAL_GPIO_TogglePin(GPIOD,LED_5_Pin);
			timer_1_CCR1 = timer_1_CCR1 - 100;
		}
	}
}

void HAL_TIM_PeriodElapsedCallback(TIM_HandleTypeDef *htim)
{
  /* Prevent unused argument(s) compilation warning */
  UNUSED(htim);

  if(htim->Instance == TIM2)
	{
		keyscan_flag++;
		Display_flag++;
//		HAL_GPIO_TogglePin(GPIOD,LED_1_Pin);
		TIM1->CCR1 = timer_1_CCR1;

//		ADCValue = HAL_ADC_GetValue(&hadc1);

	}

}

/* USER CODE END 4 */

void Error_Handler(void)
{
}

/************************ (C) COPYRIGHT STMicroelectronics *****END OF FILE****/
